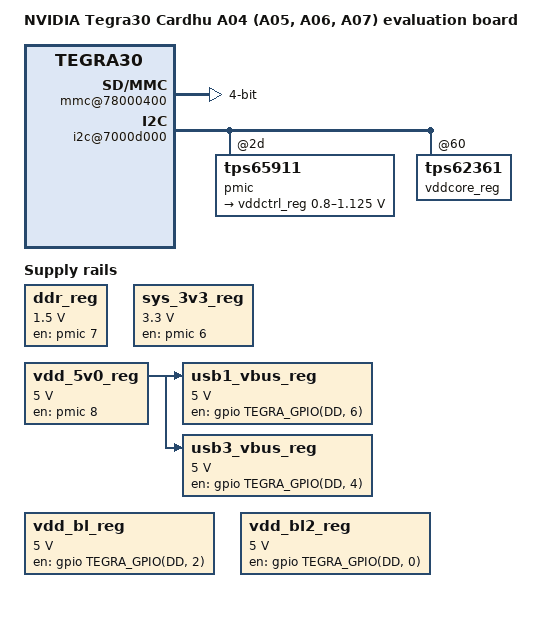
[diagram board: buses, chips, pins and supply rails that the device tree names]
// SPDX-License-Identifier: GPL-2.0
/dts-v1/;

#include "tegra30-cardhu.dtsi"
#include "tegra30-cpu-opp.dtsi"
#include "tegra30-cpu-opp-microvolt.dtsi"

/* This dts file support the cardhu A04 and later versions of board */

/ {
	model = "NVIDIA Tegra30 Cardhu A04 (A05, A06, A07) evaluation board";
	compatible = "nvidia,cardhu-a04", "nvidia,cardhu", "nvidia,tegra30";

	mmc@78000400 {
		status = "okay";
		power-gpios = <&gpio TEGRA_GPIO(D, 3) GPIO_ACTIVE_HIGH>;
		bus-width = <4>;
		keep-power-in-suspend;
	};

	ddr_reg: regulator@100 {
		compatible = "regulator-fixed";
		regulator-name = "ddr";
		regulator-min-microvolt = <1500000>;
		regulator-max-microvolt = <1500000>;
		regulator-always-on;
		regulator-boot-on;
		enable-active-high;
		gpio = <&pmic 7 GPIO_ACTIVE_HIGH>;
	};

	sys_3v3_reg: regulator@101 {
		compatible = "regulator-fixed";
		regulator-name = "sys_3v3";
		regulator-min-microvolt = <3300000>;
		regulator-max-microvolt = <3300000>;
		regulator-always-on;
		regulator-boot-on;
		enable-active-high;
		gpio = <&pmic 6 GPIO_ACTIVE_HIGH>;
	};

	usb1_vbus_reg: regulator@102 {
		compatible = "regulator-fixed";
		regulator-name = "usb1_vbus";
		regulator-min-microvolt = <5000000>;
		regulator-max-microvolt = <5000000>;
		enable-active-high;
		gpio = <&gpio TEGRA_GPIO(DD, 6) GPIO_ACTIVE_HIGH>;
		gpio-open-drain;
		vin-supply = <&vdd_5v0_reg>;
	};

	usb3_vbus_reg: regulator@103 {
		compatible = "regulator-fixed";
		regulator-name = "usb3_vbus";
		regulator-min-microvolt = <5000000>;
		regulator-max-microvolt = <5000000>;
		enable-active-high;
		gpio = <&gpio TEGRA_GPIO(DD, 4) GPIO_ACTIVE_HIGH>;
		gpio-open-drain;
		vin-supply = <&vdd_5v0_reg>;
	};

	vdd_5v0_reg: regulator@104 {
		compatible = "regulator-fixed";
		regulator-name = "5v0";
		regulator-min-microvolt = <5000000>;
		regulator-max-microvolt = <5000000>;
		enable-active-high;
		gpio = <&pmic 8 GPIO_ACTIVE_HIGH>;
	};

	vdd_bl_reg: regulator@105 {
		compatible = "regulator-fixed";
		regulator-name = "vdd_bl";
		regulator-min-microvolt = <5000000>;
		regulator-max-microvolt = <5000000>;
		regulator-always-on;
		regulator-boot-on;
		enable-active-high;
		gpio = <&gpio TEGRA_GPIO(DD, 2) GPIO_ACTIVE_HIGH>;
	};

	vdd_bl2_reg: regulator@106 {
		compatible = "regulator-fixed";
		regulator-name = "vdd_bl2";
		regulator-min-microvolt = <5000000>;
		regulator-max-microvolt = <5000000>;
		regulator-always-on;
		regulator-boot-on;
		enable-active-high;
		gpio = <&gpio TEGRA_GPIO(DD, 0) GPIO_ACTIVE_HIGH>;
	};

	i2c@7000d000 {
		pmic: tps65911@2d {
			regulators {
				vddctrl_reg: vddctrl {
					regulator-min-microvolt = <800000>;
					regulator-max-microvolt = <1125000>;
					regulator-coupled-with = <&vddcore_reg>;
					regulator-coupled-max-spread = <300000>;
					regulator-max-step-microvolt = <100000>;

					nvidia,tegra-cpu-regulator;
				};
			};
		};

		vddcore_reg: tps62361@60 {
			regulator-coupled-with = <&vddctrl_reg>;
			regulator-coupled-max-spread = <300000>;
			regulator-max-step-microvolt = <100000>;

			nvidia,tegra-core-regulator;
		};
	};

	cpus {
		cpu0: cpu@0 {
			cpu-supply = <&vddctrl_reg>;
			operating-points-v2 = <&cpu0_opp_table>;
		};

		cpu@1 {
			cpu-supply = <&vddctrl_reg>;
			operating-points-v2 = <&cpu0_opp_table>;
		};

		cpu@2 {
			cpu-supply = <&vddctrl_reg>;
			operating-points-v2 = <&cpu0_opp_table>;
		};

		cpu@3 {
			cpu-supply = <&vddctrl_reg>;
			operating-points-v2 = <&cpu0_opp_table>;
		};
	};
};
